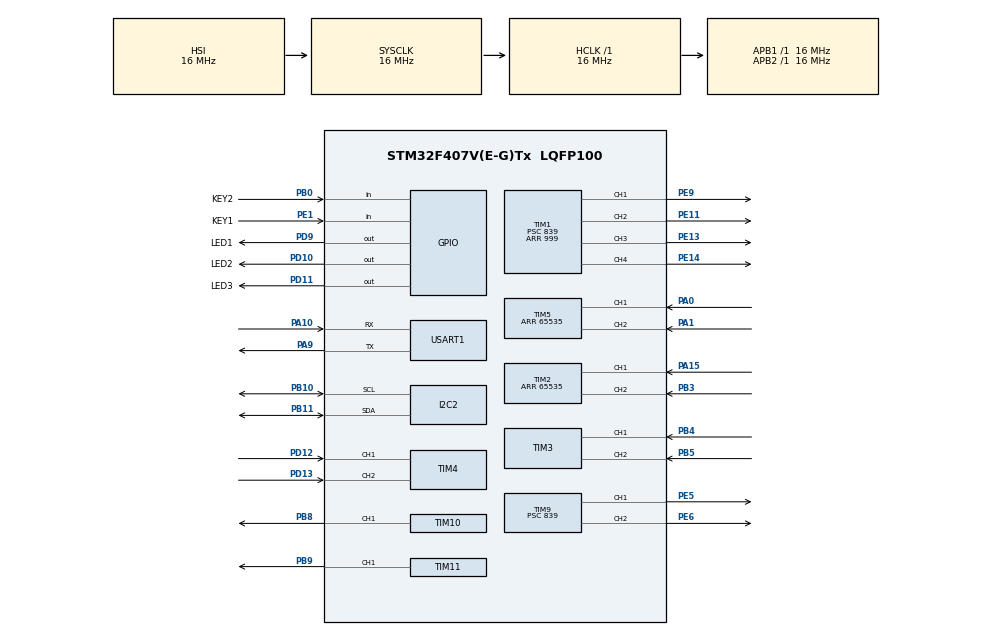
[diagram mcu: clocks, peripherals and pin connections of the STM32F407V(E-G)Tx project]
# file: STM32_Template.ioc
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I2C2.I2C_Mode=I2C_Standard
Mcu.Family=STM32F4
Mcu.Name=STM32F407V(E-G)Tx
Mcu.Package=LQFP100
NVIC.PriorityGroup=NVIC_PRIORITYGROUP_4
NVIC.USART1_IRQn=true\:0\:0\:false\:false\:true\:true\:true\:true
PA0-WKUP.Signal=S_TIM5_CH1
PA1.Signal=S_TIM5_CH2
PA10.Mode=Asynchronous
PA10.Signal=USART1_RX
PA13.Mode=Serial_Wire
PA13.Signal=SYS_JTMS-SWDIO
PA14.Mode=Serial_Wire
PA14.Signal=SYS_JTCK-SWCLK
PA15.Signal=S_TIM2_CH1_ETR
PA9.Mode=Asynchronous
PA9.Signal=USART1_TX
PB0.GPIO_Label=KEY2
PB0.GPIO_PuPd=GPIO_PULLUP
PB0.Signal=GPIO_Input
PB10.Mode=I2C
PB10.Signal=I2C2_SCL
PB11.Mode=I2C
PB11.Signal=I2C2_SDA
PB3.Signal=S_TIM2_CH2
PB4.Signal=S_TIM3_CH1
PB5.Signal=S_TIM3_CH2
PB8.Signal=S_TIM10_CH1
PB9.Signal=S_TIM11_CH1
PD10.GPIO_Label=LED2
PD10.Signal=GPIO_Output
PD11.GPIO_Label=LED3
PD11.Signal=GPIO_Output
PD12.Signal=S_TIM4_CH1
PD13.Signal=S_TIM4_CH2
PD9.GPIO_Label=LED1
PD9.Signal=GPIO_Output
PE1.GPIO_Label=KEY1
PE1.GPIO_PuPd=GPIO_PULLUP
PE1.Signal=GPIO_Input
PE11.Signal=S_TIM1_CH2
PE13.Signal=S_TIM1_CH3
PE14.Signal=S_TIM1_CH4
PE5.Signal=S_TIM9_CH1
PE6.Signal=S_TIM9_CH2
PE9.Signal=S_TIM1_CH1
ProjectManager.HeapSize=0x200
ProjectManager.StackSize=0x400
ProjectManager.TargetToolchain=MDK-ARM V5
RCC.AHBFreq_Value=16000000
RCC.APB1Freq_Value=16000000
RCC.APB2Freq_Value=16000000
RCC.CortexFreq_Value=16000000
RCC.HSE_VALUE=25000000
RCC.HSI_VALUE=16000000
RCC.LSE_VALUE=32768
RCC.SYSCLKFreq_VALUE=16000000
RCC.VCOOutputFreq_Value=192000000
SH.S_TIM10_CH1.0=TIM10_CH1,PWM Generation1 CH1
SH.S_TIM11_CH1.0=TIM11_CH1,PWM Generation1 CH1
SH.S_TIM1_CH1.0=TIM1_CH1,PWM Generation1 CH1
SH.S_TIM1_CH2.0=TIM1_CH2,PWM Generation2 CH2
SH.S_TIM1_CH3.0=TIM1_CH3,PWM Generation3 CH3
SH.S_TIM1_CH4.0=TIM1_CH4,PWM Generation4 CH4
SH.S_TIM2_CH1_ETR.0=TIM2_CH1,Encoder_Interface
SH.S_TIM2_CH2.0=TIM2_CH2,Encoder_Interface
SH.S_TIM3_CH1.0=TIM3_CH1,Encoder_Interface
SH.S_TIM3_CH2.0=TIM3_CH2,Encoder_Interface
SH.S_TIM4_CH1.0=TIM4_CH1,Encoder_Interface
SH.S_TIM4_CH2.0=TIM4_CH2,Encoder_Interface
SH.S_TIM5_CH1.0=TIM5_CH1,Encoder_Interface
SH.S_TIM5_CH2.0=TIM5_CH2,Encoder_Interface
SH.S_TIM9_CH1.0=TIM9_CH1,PWM Generation1 CH1
SH.S_TIM9_CH2.0=TIM9_CH2,PWM Generation2 CH2
TIM1.Channel-PWM\ Generation1\ CH1=TIM_CHANNEL_1
TIM1.Channel-PWM\ Generation2\ CH2=TIM_CHANNEL_2
TIM1.Channel-PWM\ Generation3\ CH3=TIM_CHANNEL_3
TIM1.Channel-PWM\ Generation4\ CH4=TIM_CHANNEL_4
TIM1.OCFastMode_PWM-PWM\ Generation1\ CH1=TIM_OCFAST_ENABLE
TIM1.OCFastMode_PWM-PWM\ Generation2\ CH2=TIM_OCFAST_ENABLE
TIM1.OCFastMode_PWM-PWM\ Generation3\ CH3=TIM_OCFAST_ENABLE
TIM1.OCFastMode_PWM-PWM\ Generation4\ CH4=TIM_OCFAST_ENABLE
TIM1.Period=999
TIM1.Prescaler=839
TIM10.Channel=TIM_CHANNEL_1
TIM10.OCFastMode_PWM=TIM_OCFAST_ENABLE
TIM10.Period=999
TIM10.Prescaler=839
TIM11.Channel=TIM_CHANNEL_1
TIM11.OCFastMode_PWM=TIM_OCFAST_ENABLE
TIM11.Period=999
TIM11.Prescaler=839
TIM2.EncoderMode=TIM_ENCODERMODE_TI12
TIM2.IC1Filter=6
TIM2.IC2Filter=6
TIM2.Period=65535
TIM3.EncoderMode=TIM_ENCODERMODE_TI12
TIM4.EncoderMode=TIM_ENCODERMODE_TI12
TIM5.EncoderMode=TIM_ENCODERMODE_TI12
TIM5.IC1Filter=6
TIM5.IC2Filter=6
TIM5.Period=65535
TIM9.AutoReloadPreload=TIM_AUTORELOAD_PRELOAD_ENABLE
TIM9.Channel-PWM\ Generation1\ CH1=TIM_CHANNEL_1
TIM9.Channel-PWM\ Generation2\ CH2=TIM_CHANNEL_2
TIM9.OCFastMode_PWM-PWM\ Generation1\ CH1=TIM_OCFAST_ENABLE
TIM9.OCFastMode_PWM-PWM\ Generation2\ CH2=TIM_OCFAST_ENABLE
TIM9.Period=999
TIM9.Prescaler=839
USART1.VirtualMode=VM_ASYNC
VP_TIM10_VS_ClockSourceINT.Mode=Enable_Timer
VP_TIM11_VS_ClockSourceINT.Mode=Enable_Timer
VP_TIM1_VS_ClockSourceINT.Mode=Internal
VP_TIM9_VS_ClockSourceINT.Mode=Internal
board=custom

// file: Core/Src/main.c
/* USER CODE BEGIN Header */
/**
  ******************************************************************************
  * @file           : main.c
  * @brief          : Main program body
  ******************************************************************************
  * @attention
  *
  * Copyright (c) 2026 STMicroelectronics.
  * All rights reserved.
  *
  * This software is licensed under terms that can be found in the LICENSE file
  * in the root directory of this software component.
  * If no LICENSE file comes with this software, it is provided AS-IS.
  *
  ******************************************************************************
  */
/* USER CODE END Header */
#include "main.h"
#include "i2c.h"
#include "tim.h"
#include "usart.h"
#include "gpio.h"

/* USER CODE BEGIN Includes */
#include <stdio.h>
#include <string.h>
#include "motor.h"
#include "encoder.h"
#include "motor_control.h"
#include "chassis.h"
#include "odom.h"
#include "qmi8658.h"
#include "Madgwick.h"
#include "protocol.h"
/* USER CODE END Includes */

/* USER CODE BEGIN PV */
Odom_t odom = {0.0f, 0.0f, 0.0f, 0.0f, 0.0f, 0.0f};

// 传感器与状态变量
uint8_t imu_ok = 0;                          // IMU 是否检测成功
float ax = 0.0f, ay = 0.0f, az = 0.0f;       // 加速度 (m/s^2)
float gx = 0.0f, gy = 0.0f, gz = 0.0f;       // 角速度 (rad/s)
float qw = 1.0f, qx = 0.0f, qy = 0.0f, qz = 0.0f; // 姿态四元数
float roll = 0.0f, pitch = 0.0f, yaw = 0.0f; // 姿态欧拉角 (度)
uint32_t sys_tick = 0;                       // 系统滴答定时器基准
uint32_t led_tick = 0;                       // LED 心跳定时基准

/* USER CODE END PV */

void SystemClock_Config(void);

int main(void)
{

  /* MCU Configuration--------------------------------------------------------*/

  /* Reset of all peripherals, Initializes the Flash interface and the Systick. */
  HAL_Init();

  /* Configure the system clock */
  SystemClock_Config();

  /* Initialize all configured peripherals */
  MX_GPIO_Init();
  MX_USART1_UART_Init();
  MX_TIM1_Init();
  MX_TIM9_Init();
  MX_TIM10_Init();
  MX_TIM11_Init();
  MX_TIM5_Init();
  MX_TIM2_Init();
  MX_TIM3_Init();
  MX_TIM4_Init();
  MX_I2C2_Init();
  /* USER CODE BEGIN 2 */

  // ================ 启动横幅：直接走 HAL 发送，绝对可靠 ================
  // 注意：本板无外部晶振，SystemClock_Config 有意保持 HSI 16MHz、PLL 关闭（见下）。
  //   控制/速度环/PID 全部基于实测 dt 计时，不依赖主频，16MHz 足够 100Hz 巡检循环。
  //   若日后要升 168MHz：需在 SystemClock_Config 启用 PLL，并重算 tim.c 分频
  //   （电机 PWM 载波）、核对 UART 波特率与 FLASH 等待周期，且 VEL_FF/FRICTION_FF
  //   等 PWM 标定值需按新载波重标——不要只改时钟不动定时器！
  HAL_UART_Transmit(&huart1, (uint8_t *)"STM32 BOOT OK (HSI 16MHz)\r\n",
                    strlen("STM32 BOOT OK (HSI 16MHz)\r\n"), 100);

  // ================ LED 指示灯 ================
  HAL_GPIO_WritePin(LED1_GPIO_Port, LED1_Pin, GPIO_PIN_SET);   // 点亮表示进入运行

  // ================ 电机 PWM 启动 ================
  HAL_TIM_PWM_Start(&htim1, TIM_CHANNEL_1);
  HAL_TIM_PWM_Start(&htim1, TIM_CHANNEL_2);
  HAL_TIM_PWM_Start(&htim1, TIM_CHANNEL_3);
  HAL_TIM_PWM_Start(&htim1, TIM_CHANNEL_4);
  HAL_TIM_PWM_Start(&htim9, TIM_CHANNEL_1);
  HAL_TIM_PWM_Start(&htim9, TIM_CHANNEL_2);
  HAL_TIM_PWM_Start(&htim10, TIM_CHANNEL_1);
  HAL_TIM_PWM_Start(&htim11, TIM_CHANNEL_1);

  // ================ 编码器 ================
  Encoder_Init();
  HAL_TIM_Encoder_Start(&htim5, TIM_CHANNEL_ALL);
  HAL_TIM_Encoder_Start(&htim2, TIM_CHANNEL_ALL);
  HAL_TIM_Encoder_Start(&htim3, TIM_CHANNEL_ALL);
  HAL_TIM_Encoder_Start(&htim4, TIM_CHANNEL_ALL);

  Motor_Control_Init();

  // ================ 串口协议（树莓派收发） ================
  Protocol_Init(&huart1);

  // ================ IMU 初始化（可选：检测不到也不阻塞主程序） ================
  HAL_Delay(100);   // 给 IMU 一点上电稳定时间
  imu_ok = (QMI8658_Init() == 0);   // Init 内部会打印详细诊断信息
  uart_printf("QMI8658 %s\r\n", imu_ok ? "OK, IMU enabled" : "FAILED, IMU disabled");

  // ================ 陀螺仪零偏自动校准（可选：imu_ok 时才做） ================
  // 陀螺仪零偏会导致 yaw 静止时缓慢漂移（几十秒几度），校准后明显改善。
  // 注意：校准期间必须保持小车完全静止 5 秒！否则校准结果不准。
  // 如果不想开机校准，把下面这段改成：QMI8658_GyroCalibration();
  if (imu_ok)
  {
      uart_printf("Keep robot STILL for 5s (gyro calibration)...\r\n");
      HAL_Delay(500);   // 先给用户 0.5s 反应时间，松手让小车静止
      QMI8658_GyroCalibration();
      uart_printf("Gyro calibration DONE\r\n");
      QMI8658_AccCalibration();   // 加速度零偏校准：静止时把 ax/ay 拉到 0，az 拉到 9.8
  }

  // 初始化 Madgwick 算法，增益 beta 设为 0.1f 适用于大多数机器人
  Madgwick_Init(0.1f);

  // ================ 电机链路自检（上电按住 KEY1 进入） ================
  // 用途：绕过 CMD 协议和 PID，直接给每个电机 PWM=±300（占空比~30%），
  //       同时读编码器计数差值，锁定"底盘不动"断在哪一环：
  //   - 轮子不转 / 编码器无变化  => 该路 PWM输出->驱动板->接线 有问题
  //   - 轮子转、编码器有数值      => 硬件链全通，问题在 CMD 数值太小/量纲
  // 注意：测试期间请把车悬空，轮子会依次转动！测完自动进入主循环。
  if (HAL_GPIO_ReadPin(KEY1_GPIO_Port, KEY1_Pin) == GPIO_PIN_RESET)
  {
      Encoder_t *test_enc[4] = {GetEncoder1(), GetEncoder2(), GetEncoder3(), GetEncoder4()};
      uart_printf("\r\n===== MOTOR SELF TEST (KEY1 pressed) =====\r\n");
      uart_printf(">>> KEEP ROBOT OFF GROUND, WHEELS FREE <<<\r\n");

      for (int id = 0; id < 4; id++)
      {
          Motor_SetSpeed(id + 1, 0);
          HAL_Delay(300);

          int32_t b = __HAL_TIM_GET_COUNTER(test_enc[id]->htim);
          Motor_SetSpeed(id + 1, 300);
          uart_printf("[TEST] M%d PWM=+300 ...\r\n", id + 1);
          HAL_Delay(2000);
          uart_printf("[TEST] M%d +300: enc_delta=%d\r\n",
                      id + 1, (int)(__HAL_TIM_GET_COUNTER(test_enc[id]->htim) - b));

          Motor_SetSpeed(id + 1, 0);
          HAL_Delay(300);

          b = __HAL_TIM_GET_COUNTER(test_enc[id]->htim);
          Motor_SetSpeed(id + 1, -300);
          uart_printf("[TEST] M%d PWM=-300 ...\r\n", id + 1);
          HAL_Delay(2000);
          uart_printf("[TEST] M%d -300: enc_delta=%d\r\n",
                      id + 1, (int)(__HAL_TIM_GET_COUNTER(test_enc[id]->htim) - b));

          Motor_SetSpeed(id + 1, 0);
      }
      uart_printf("===== MOTOR SELF TEST DONE =====\r\n");
  }

  uart_printf("System Ready, entering loop...\r\n");

  sys_tick = HAL_GetTick(); // 初始化系统基准时间
  /* USER CODE END 2 */

  /* Infinite loop */
  while (1)
  {

    /* USER CODE BEGIN 3 */
    /* ================= 100Hz 主循环 =================
     * 注意：这段是 8/6 验证过、后被清空丢失的主循环，8/13 重建。
     * 若用 CubeMX 重新生成，这段在 USER CODE 3 区域会被保留，勿手动删除。 */

    // 1. 计算实际经过时间 dt（秒），非阻塞调度基准
    uint32_t now = HAL_GetTick();
    float dt = (float)(now - sys_tick) / 1000.0f;
    if (dt < 0.001f) dt = 0.01f;   // 防御：首帧/异常时取 10ms
    sys_tick = now;

    // 2. 解析上位机指令（CMD,vx,vy,wz / STOP）
    Protocol_ParseCommand();

    // 3. 底盘运动学：目标速度 -> 4 路速度环 PID -> PWM
    Chassis_Move(chassis_cmd.vx, chassis_cmd.vy, chassis_cmd.wz);
    Motor_Control_Update(&motor1_control, dt);
    Motor_Control_Update(&motor2_control, dt);
    Motor_Control_Update(&motor3_control, dt);
    Motor_Control_Update(&motor4_control, dt);
    // M2/M4 电机安装方向相反，PWM 取反（见 encoder.c 注释，勿改）
    Motor_SetSpeed(1, (int)motor1_control.pwm_output);
    Motor_SetSpeed(2, -(int)motor2_control.pwm_output);
    Motor_SetSpeed(3, (int)motor3_control.pwm_output);
    Motor_SetSpeed(4, -(int)motor4_control.pwm_output);

    // 4. 里程计：编码器速度 -> 麦轮正运动学 -> 世界系积分
    Odom_Update(&odom, dt);

    // 5. IMU 读取 + Madgwick 姿态解算
    //    注意：QMI8658 输出加速度是 m/s²，Madgwick 要求 g，除以 9.80665。
    if (imu_ok)
    {
        QMI8658_ReadData(&ax, &ay, &az, &gx, &gy, &gz);
        Madgwick_Update(gx, gy, gz,
                        ax / 9.80665f, ay / 9.80665f, az / 9.80665f,
                        dt);
        Madgwick_GetQuaternion(&qw, &qx, &qy, &qz);
    }
    // imu_ok=0 时 ax..gz 保持 0、四元数保持 (1,0,0,0)，回传照发，树莓派端至少能拿到 ODOM

    // 6. 周期回传：ODOM + IMU 两行（约 100Hz）
    Protocol_SendRobotState(ax, ay, az, gx, gy, gz, qw, qx, qy, qz, &odom);

    // 7. LED 心跳：500ms 翻转一次，肉眼确认 MCU 存活
    if (now - led_tick >= 500)
    {
        led_tick = now;
        HAL_GPIO_TogglePin(LED1_GPIO_Port, LED1_Pin);
    }
    /* USER CODE END 3 */
  }
  /* USER CODE END 3 */
}

void SystemClock_Config(void)
{
  RCC_OscInitTypeDef RCC_OscInitStruct = {0};
  RCC_ClkInitTypeDef RCC_ClkInitStruct = {0};

  /** Configure the main internal regulator output voltage
  */
  __HAL_RCC_PWR_CLK_ENABLE();
  __HAL_PWR_VOLTAGESCALING_CONFIG(PWR_REGULATOR_VOLTAGE_SCALE1);

  /** Initializes the RCC Oscillators according to the specified parameters
  * in the RCC_OscInitTypeDef structure.
  */
  RCC_OscInitStruct.OscillatorType = RCC_OSCILLATORTYPE_HSI;
  RCC_OscInitStruct.HSIState = RCC_HSI_ON;
  RCC_OscInitStruct.HSICalibrationValue = RCC_HSICALIBRATION_DEFAULT;
  RCC_OscInitStruct.PLL.PLLState = RCC_PLL_NONE;
  if (HAL_RCC_OscConfig(&RCC_OscInitStruct) != HAL_OK)
  {
    Error_Handler();
  }

  /** Initializes the CPU, AHB and APB buses clocks
  */
  RCC_ClkInitStruct.ClockType = RCC_CLOCKTYPE_HCLK|RCC_CLOCKTYPE_SYSCLK
                              |RCC_CLOCKTYPE_PCLK1|RCC_CLOCKTYPE_PCLK2;
  RCC_ClkInitStruct.SYSCLKSource = RCC_SYSCLKSOURCE_HSI;
  RCC_ClkInitStruct.AHBCLKDivider = RCC_SYSCLK_DIV1;
  RCC_ClkInitStruct.APB1CLKDivider = RCC_HCLK_DIV1;
  RCC_ClkInitStruct.APB2CLKDivider = RCC_HCLK_DIV1;

  if (HAL_RCC_ClockConfig(&RCC_ClkInitStruct, FLASH_LATENCY_0) != HAL_OK)
  {
    Error_Handler();
  }
}

void Error_Handler(void)
{
  /* USER CODE BEGIN Error_Handler_Debug */
  /* 初始化失败时 LED1 快速闪烁，方便肉眼诊断（正常运行时 LED1 是 500ms 心跳） */
  __HAL_RCC_GPIOD_CLK_ENABLE();
  {
    GPIO_InitTypeDef g = {0};
    g.Pin = LED1_Pin;
    g.Mode = GPIO_MODE_OUTPUT_PP;
    g.Pull = GPIO_NOPULL;
    g.Speed = GPIO_SPEED_FREQ_LOW;
    HAL_GPIO_Init(LED1_GPIO_Port, &g);
  }
  while (1)
  {
    HAL_GPIO_TogglePin(LED1_GPIO_Port, LED1_Pin);
    for (volatile uint32_t i = 0; i < 200000; i++);   // 软件延时，不依赖 SysTick
  }
  /* USER CODE END Error_Handler_Debug */
}
